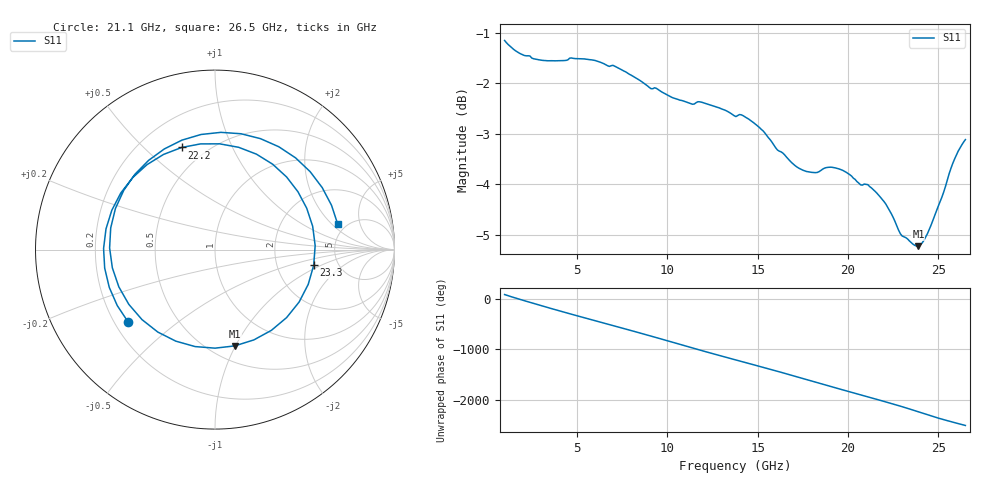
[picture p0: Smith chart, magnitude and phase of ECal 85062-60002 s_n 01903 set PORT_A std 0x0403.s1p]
!Created with skrf (http://scikit-rf.org).
# Hz S RI R 50.0
!freq ReS11 ImS11
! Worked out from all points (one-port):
!   256 points, 1 GHz to 26.5 GHz, reference 50 ohm
!   lowest |S11| = -5.2 dB at 23.9 GHz (marker M1), VSWR 3.42, Z = 32.4 - j49.7 ohm
!   |S11| at or under -10 dB: nowhere
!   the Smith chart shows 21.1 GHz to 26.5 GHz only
!   S11 on the Smith chart (normalised r, x): 21.1 GHz: 0.26, -0.34; 22.2 GHz: 0.37, +0.66; 23.3 GHz: 3.28, -0.83; 26.5 GHz: 4.29, +2.35
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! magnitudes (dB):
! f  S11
! 1 GHz  -1.2
! 1.7 GHz  -1.4
! 2.6 GHz  -1.5
! 4.2 GHz  -1.6
! 5.8 GHz  -1.5
! 7.4 GHz  -1.7
! 9.1 GHz  -2.1
! 10.6 GHz  -2.3
! 11.4 GHz  -2.4
! 11.9 GHz  -2.4
! 13.8 GHz  -2.7
! 14.1 GHz  -2.6
! 15 GHz  -2.8
! 17 GHz  -3.6
! 18.1 GHz  -3.8
! 19.2 GHz  -3.7
! 20.2 GHz  -3.8
! 20.7 GHz  -4.0
! 21.1 GHz  -4.0
! 22.2 GHz  -4.5
! 22.9 GHz  -5.0
! 23.3 GHz  -5.1
! 23.4 GHz  -5.1
! 23.9 GHz  -5.2
! 24.4 GHz  -5.0
! 25.2 GHz  -4.3
! 25.8 GHz  -3.6
! 26.5 GHz  -3.1
